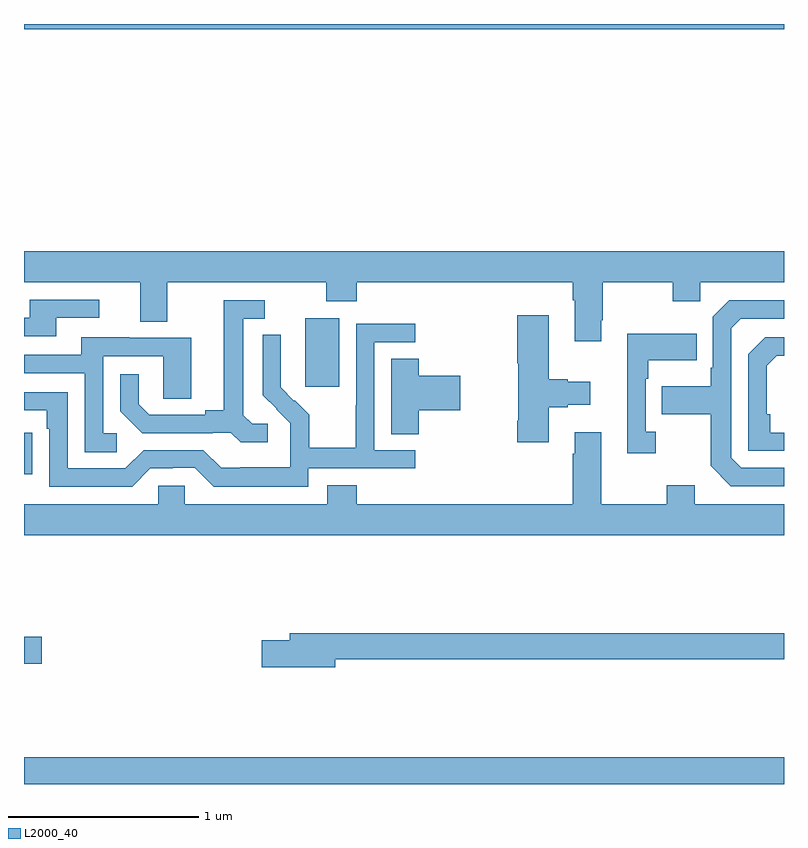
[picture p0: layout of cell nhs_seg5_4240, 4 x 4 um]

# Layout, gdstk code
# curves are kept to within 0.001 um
import gdstk
lib = gdstk.Library(unit=1e-6, precision=1e-09)
def R(c, l, rs):  # rectangles x0, y0, x1, y1
    for r in rs: c.add(gdstk.rectangle(r[:2], r[2:], *l))
def P(c, l, *ps):  # polygons
    for p in ps: c.add(gdstk.Polygon(p, *l))
L2000_40 = (2000, 40)

nhs_seg5_4240 = lib.new_cell('nhs_seg5_4240')
R(nhs_seg5_4240, L2000_40, [(361,840.799,365,840.94), (361,841.432,361.093,841.574), (361,842.43,361.043,842.648), (362.48,842.889,362.659,843.25), (361,844.772,365,844.799)])
P(nhs_seg5_4240, L2000_40, [(364.039,843.241),(364.047,843.241),(364.047,843.44),(364.414,843.44),(364.414,843.341),(364.56,843.341),(364.56,843.44),(365,843.44),(365,843.604),(361,843.604),(361,843.44),(361.613,843.44),(361.613,843.232),(361.753,843.232),(361.753,843.44),(362.59,843.44),(362.59,843.341),(362.75,843.341),(362.75,843.44),(363.887,843.44),(363.887,843.344),(363.899,843.344),(363.899,843.129),(364.039,843.129)],
  [(361.171,843.252),(361.396,843.252),(361.396,843.348),(361.031,843.348),(361.031,843.252),(361,843.252),(361,843.156),(361.171,843.156)],
  [(365,842.463),(364.776,842.463),(364.722,842.517),(364.722,843.198),(364.773,843.249),(365,843.249),(365,843.345),(364.713,843.345),(364.626,843.258),(364.626,842.989),(364.614,842.989),(364.614,842.893),(364.357,842.893),(364.357,842.746),(364.614,842.746),(364.614,842.473),(364.719,842.367),(365,842.367)],
  [(362.284,842.694),(362.202,842.694),(362.155,842.741),(362.155,843.249),(362.266,843.249),(362.266,843.345),(362.051,843.345),(362.051,842.765),(361.955,842.765),(361.955,842.742),(361.66,842.742),(361.603,842.799),(361.603,842.956),(361.506,842.956),(361.506,842.762),(361.622,842.646),(361.994,842.646),(361.994,842.649),(362.088,842.649),(362.14,842.597),(362.284,842.597)],
  [(363.763,842.783),(363.863,842.783),(363.863,842.795),(363.979,842.795),(363.979,842.917),(363.863,842.917),(363.863,842.93),(363.763,842.93),(363.763,843.265),(363.596,843.265),(363.596,843.013),(363.601,843.013),(363.601,842.71),(363.596,842.71),(363.596,842.598),(363.763,842.598)],
  [(362.496,842.46),(363.058,842.46),(363.058,842.556),(362.844,842.556),(362.844,843.123),(363.058,843.123),(363.058,843.222),(362.748,843.222),(362.748,842.792),(362.746,842.792),(362.746,842.569),(362.501,842.569),(362.501,842.743),(362.424,842.82),(362.421,842.817),(362.351,842.888),(362.352,843.164),(362.256,843.164),(362.256,842.846),(362.402,842.698),(362.402,842.601),(362.4,842.601),(362.4,842.467),(362.137,842.467),(362.137,842.463),(362.037,842.463),(361.944,842.556),(361.629,842.556),(361.533,842.46),(361.23,842.46),(361.23,842.862),(361,842.862),(361,842.766),(361.121,842.766),(361.121,842.669),(361.134,842.669),(361.134,842.364),(361.569,842.364),(361.665,842.46),(361.784,842.46),(361.784,842.463),(361.899,842.463),(361.999,842.363),(362.496,842.363)],
  [(364.324,842.654),(364.272,842.654),(364.272,842.933),(364.285,842.933),(364.285,843.029),(364.541,843.029),(364.541,843.169),(364.175,843.169),(364.175,842.541),(364.324,842.541)],
  [(361.489,842.646),(361.416,842.646),(361.416,843.051),(361.734,843.051),(361.734,842.827),(361.879,842.827),(361.879,843.147),(361.555,843.147),(361.555,843.151),(361.301,843.151),(361.301,843.057),(361,843.057),(361,842.961),(361.32,842.961),(361.32,842.545),(361.489,842.545)],
  [(365,842.649),(364.928,842.649),(364.928,842.746),(364.908,842.746),(364.908,843),(364.961,843.053),(365,843.053),(365,843.15),(364.902,843.15),(364.812,843.06),(364.812,842.553),(365,842.553)],
  [(363.077,842.765),(363.295,842.765),(363.295,842.948),(363.077,842.948),(363.077,843.038),(362.933,843.038),(362.933,842.641),(363.077,842.641)],
  [(364.384,842.371),(364.384,842.272),(364.039,842.272),(364.039,842.65),(363.899,842.65),(363.899,842.537),(363.887,842.537),(363.887,842.272),(362.75,842.272),(362.75,842.371),(362.597,842.371),(362.597,842.272),(361.845,842.272),(361.845,842.37),(361.707,842.37),(361.707,842.272),(361,842.272),(361,842.108),(365,842.108),(365,842.272),(364.531,842.272),(364.531,842.371)],
  [(362.638,841.456),(365,841.456),(365,841.592),(362.399,841.592),(362.399,841.556),(362.25,841.556),(362.25,841.414),(362.638,841.414)])

lib.write_gds('nhs_seg5_4240.gds')
